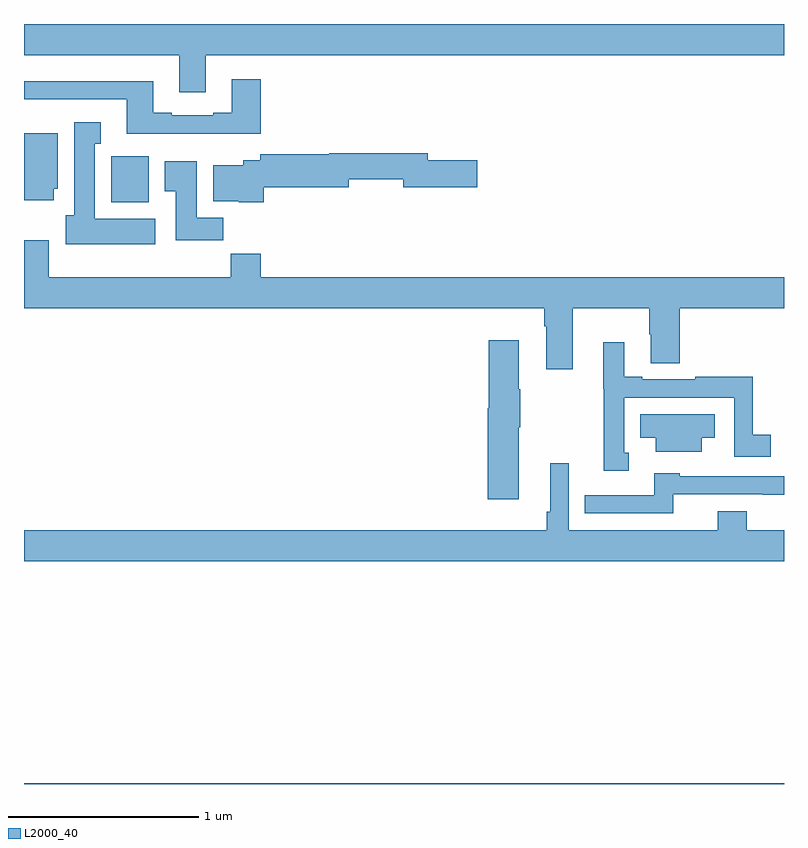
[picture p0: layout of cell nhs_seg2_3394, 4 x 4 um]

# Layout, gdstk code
import gdstk
lib = gdstk.Library(unit=1e-6, precision=1e-09)
def R(c, l, rs):  # rectangles x0, y0, x1, y1
    for r in rs: c.add(gdstk.rectangle(r[:2], r[2:], *l))
def P(c, l, *ps):  # polygons
    for p in ps: c.add(gdstk.Polygon(p, *l))
L2000_40 = (2000, 40)

nhs_seg2_3394 = lib.new_cell('nhs_seg2_3394')
R(nhs_seg2_3394, L2000_40, [(289,643.8,293,643.804), (289.46,646.862,289.657,647.104)])
P(nhs_seg2_3394, L2000_40, [(289.957,647.636),(293,647.636),(293,647.8),(289,647.8),(289,647.636),(289.817,647.636),(289.817,647.442),(289.957,647.442)],
  [(290.246,647.509),(290.093,647.509),(290.093,647.332),(289.997,647.332),(289.997,647.319),(289.777,647.319),(289.777,647.332),(289.681,647.332),(289.681,647.5),(289,647.5),(289,647.403),(289.541,647.403),(289.541,647.222),(290.246,647.222)],
  [(289.69,646.774),(289.372,646.774),(289.372,647.171),(289.405,647.171),(289.405,647.284),(289.265,647.284),(289.265,646.794),(289.22,646.794),(289.22,646.64),(289.69,646.64)],
  [(289.156,646.932),(289.177,646.932),(289.177,647.224),(289,647.224),(289,646.872),(289.156,646.872)],
  [(290.261,646.942),(290.71,646.942),(290.71,646.984),(290.996,646.984),(290.996,646.942),(291.385,646.942),(291.385,647.084),(291.124,647.084),(291.124,647.12),(290.606,647.12),(290.606,647.114),(290.244,647.114),(290.244,647.083),(290.154,647.083),(290.154,647.056),(289.997,647.056),(289.997,646.868),(290.13,646.868),(290.13,646.862),(290.261,646.862)],
  [(290.048,646.78),(289.909,646.78),(289.909,647.077),(289.742,647.077),(289.742,646.921),(289.799,646.921),(289.799,646.662),(290.048,646.662)],
  [(291.889,646.304),(292.291,646.304),(292.291,646.166),(292.298,646.166),(292.298,646.015),(292.451,646.015),(292.451,646.304),(293,646.304),(293,646.468),(290.246,646.468),(290.246,646.592),(290.089,646.592),(290.089,646.468),(289.129,646.468),(289.129,646.663),(289,646.663),(289,646.304),(291.737,646.304),(291.737,646.208),(291.749,646.208),(291.749,645.984),(291.889,645.984)],
  [(291.604,645.677),(291.612,645.677),(291.612,645.877),(291.604,645.877),(291.604,646.135),(291.446,646.135),(291.446,645.777),(291.44,645.777),(291.44,645.3),(291.604,645.3)],
  [(292.183,645.543),(292.158,645.543),(292.158,645.834),(292.737,645.834),(292.737,645.522),(292.93,645.522),(292.93,645.638),(292.836,645.638),(292.836,645.943),(292.534,645.943),(292.534,645.93),(292.255,645.93),(292.255,645.943),(292.159,645.943),(292.159,646.126),(292.049,646.126),(292.049,645.881),(292.05,645.881),(292.05,645.449),(292.183,645.449)],
  [(292.567,645.623),(292.636,645.623),(292.636,645.745),(292.243,645.745),(292.243,645.623),(292.325,645.623),(292.325,645.548),(292.567,645.548)],
  [(293,645.136),(292.805,645.136),(292.805,645.235),(292.652,645.235),(292.652,645.136),(291.867,645.136),(291.867,645.487),(291.77,645.487),(291.77,645.232),(291.751,645.232),(291.751,645.136),(289,645.136),(289,644.972),(293,644.972)],
  [(292.416,645.324),(292.888,645.324),(292.888,645.323),(293,645.323),(293,645.42),(292.452,645.42),(292.452,645.436),(292.316,645.436),(292.316,645.321),(291.952,645.321),(291.952,645.225),(292.416,645.225)])

lib.write_gds('nhs_seg2_3394.gds')
